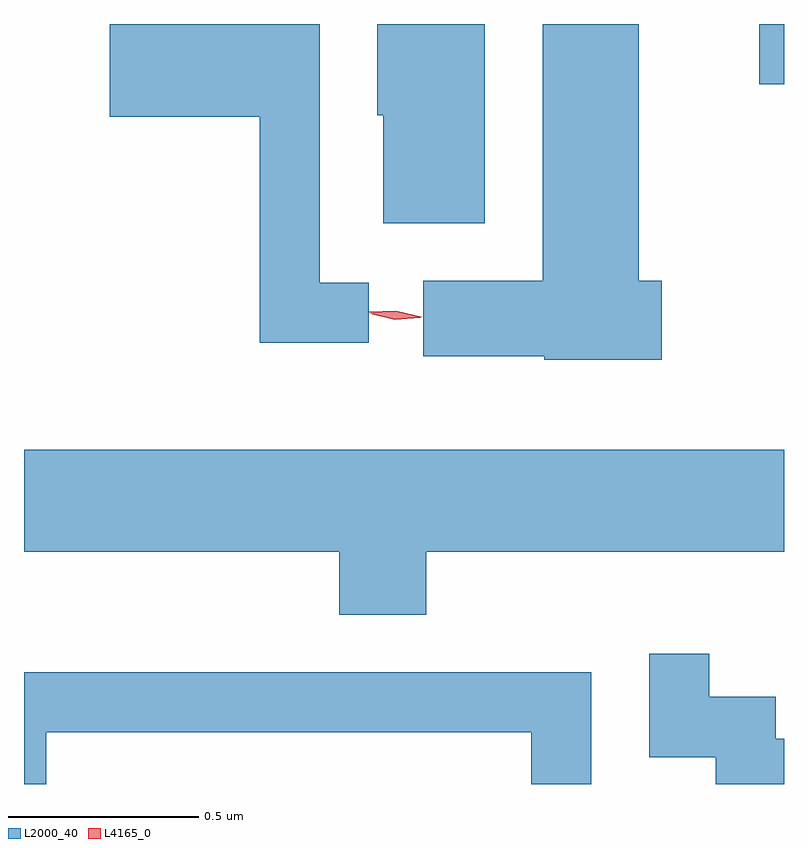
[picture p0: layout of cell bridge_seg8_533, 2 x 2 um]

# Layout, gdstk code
import gdstk
lib = gdstk.Library(unit=1e-6, precision=1e-09)
def R(c, l, rs):  # rectangles x0, y0, x1, y1
    for r in rs: c.add(gdstk.rectangle(r[:2], r[2:], *l))
def P(c, l, *ps):  # polygons
    for p in ps: c.add(gdstk.Polygon(p, *l))
L2000_40 = (2000, 40)
L4165_0 = (4165, 0)

bridge_seg8_533 = lib.new_cell('bridge_seg8_533')
R(bridge_seg8_533, L2000_40, [(267.666,1844.306,267.731,1844.465)])
P(bridge_seg8_533, L2000_40, [(266.638,1843.784),(266.509,1843.784),(266.509,1844.465),(265.956,1844.465),(265.956,1844.221),(266.351,1844.221),(266.351,1843.626),(266.638,1843.626)],
  [(267.409,1843.789),(267.349,1843.789),(267.349,1844.465),(267.096,1844.465),(267.096,1843.789),(266.781,1843.789),(266.781,1843.591),(267.1,1843.591),(267.1,1843.581),(267.409,1843.581)],
  [(266.944,1844.465),(266.661,1844.465),(266.661,1844.225),(266.676,1844.225),(266.676,1843.941),(266.944,1843.941)],
  [(266.789,1843.076),(267.731,1843.076),(267.731,1843.344),(265.731,1843.344),(265.731,1843.076),(266.561,1843.076),(266.561,1842.911),(266.789,1842.911)],
  [(267.731,1842.584),(267.709,1842.584),(267.709,1842.694),(267.534,1842.694),(267.534,1842.808),(267.376,1842.808),(267.376,1842.536),(267.551,1842.536),(267.551,1842.465),(267.731,1842.465)],
  [(265.789,1842.601),(267.066,1842.601),(267.066,1842.465),(267.224,1842.465),(267.224,1842.759),(265.731,1842.759),(265.731,1842.465),(265.789,1842.465)])
P(bridge_seg8_533, L4165_0, [(266.707,1843.691),(266.64,1843.707),(266.639,1843.707),(266.64,1843.708),(266.709,1843.711),(266.777,1843.695),(266.778,1843.695),(266.777,1843.694)],
  [(266.707,1843.687),(266.642,1843.702),(266.642,1843.702),(266.642,1843.703),(266.709,1843.707),(266.774,1843.693),(266.775,1843.692),(266.774,1843.692)])

lib.write_gds('bridge_seg8_533.gds')
